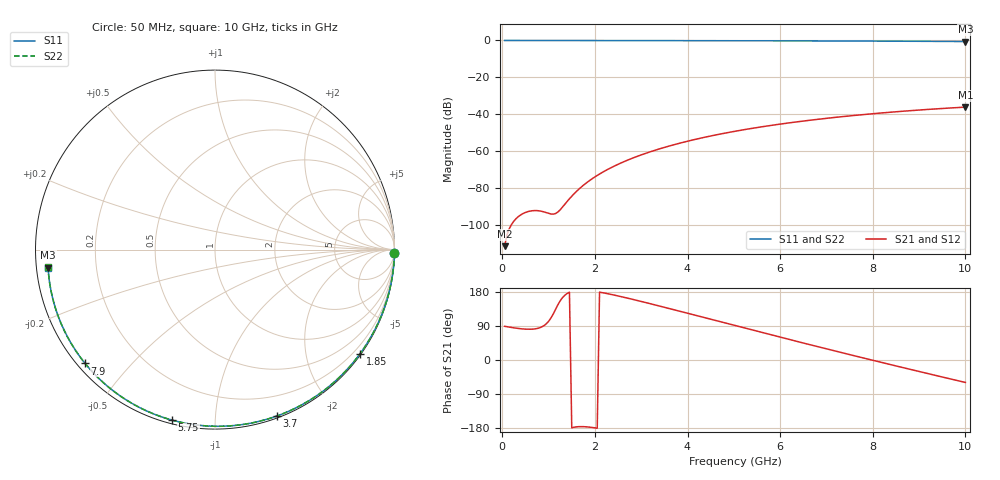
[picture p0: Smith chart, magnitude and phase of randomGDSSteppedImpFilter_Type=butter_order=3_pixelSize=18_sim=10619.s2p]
! freq	dB(S11)	phase(S11)	dB(S12)	phase(S12)
!  dB(S21)	phase(S21)	dB(S22)	phase(S22)
!S-par simulation data
#  GHz  S  DB  R 50
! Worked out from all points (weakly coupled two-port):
!   200 points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, 50 MHz to 10 GHz, reference 50 ohm
!   highest |S21| = -36.06 dB at 10 GHz (marker M1); lowest = -111.3 dB at 50 MHz (marker M2)
!   lowest |S11| = -0.6 dB at 10 GHz (marker M3), VSWR 29.88, Z = 1.68 - j2.67 ohm
!   |S11| at or under -10 dB: nowhere
!   |S22| runs from -0.6 to 0.0 dB; largest |S21 - S12| = 0
!   S11 on the Smith chart (normalised r, x): 50 MHz: open; 1.85 GHz: 0.03, -3.10; 3.7 GHz: 0.02, -1.44; 5.75 GHz: 0.02, -0.78; 7.9 GHz: 0.02, -0.38; 10 GHz: 0.03, -0.05
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0.05  -0.00 -1.0  -111.26 88.9  -111.26 88.9  -0.00 -1.0
0.45  -0.01 -8.8  -93.59 81.9  -93.59 81.9  -0.01 -8.8
0.85  -0.02 -16.6  -92.40 87.2  -92.40 87.2  -0.02 -16.6
1.65  -0.04 -31.9  -80.50 -175.9  -80.50 -175.9  -0.04 -32.0
1.7  -0.04 -32.9  -79.39 -175.8  -79.39 -175.8  -0.04 -32.9
1.75  -0.04 -33.8  -78.34 -175.9  -78.34 -175.9  -0.04 -33.9
1.85  -0.05 -35.7  -76.40 -176.7  -76.40 -176.7  -0.05 -35.8
2.15  -0.05 -41.4  -71.50 177.9  -71.50 177.9  -0.05 -41.4
2.5  -0.06 -47.9  -66.98 169.1  -66.98 169.1  -0.06 -47.9
2.9  -0.07 -55.2  -62.81 157.5  -62.81 157.5  -0.07 -55.2
3.4  -0.09 -64.2  -58.59 142.2  -58.59 142.2  -0.09 -64.2
3.7  -0.09 -69.5  -56.43 132.8  -56.43 132.8  -0.09 -69.5
4.35  -0.12 -80.8  -52.47 112.3  -52.47 112.3  -0.12 -80.8
5.05  -0.14 -92.6  -49.00 90.1  -49.00 90.1  -0.14 -92.7
5.75  -0.18 -104.2  -46.14 68.1  -46.14 68.1  -0.18 -104.2
6.2  -0.20 -111.5  -44.55 54.1  -44.55 54.1  -0.20 -111.5
6.7  -0.24 -119.5  -42.98 38.6  -42.98 38.6  -0.24 -119.6
7.3  -0.28 -129.1  -41.31 20.3  -41.31 20.3  -0.28 -129.2
7.9  -0.33 -138.8  -39.85 2.2  -39.85 2.2  -0.33 -138.9
8.35  -0.38 -146.0  -38.87 -11.2  -38.87 -11.2  -0.38 -146.1
9.2  -0.47 -160.1  -37.28 -36.2  -37.28 -36.2  -0.48 -160.2
10  -0.58 -173.9  -36.06 -59.2  -36.06 -59.2  -0.58 -174.0
